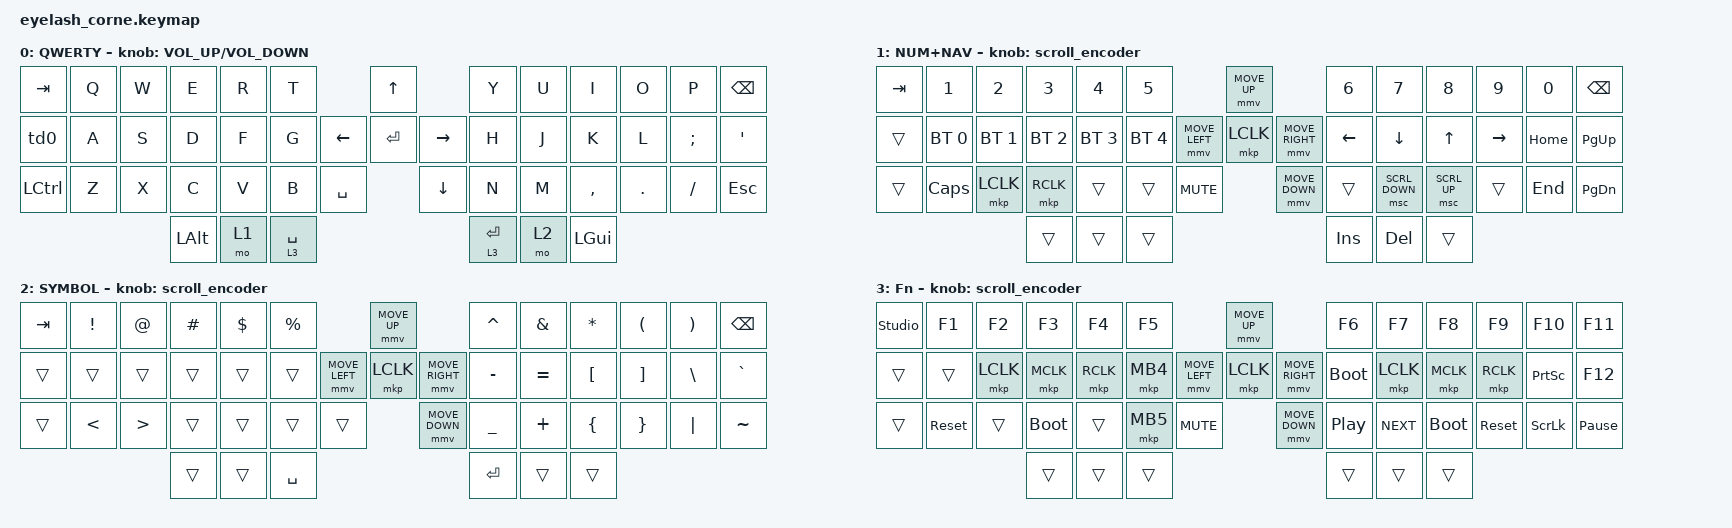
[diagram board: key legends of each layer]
#include <behaviors.dtsi>
#include <dt-bindings/zmk/bt.h>
#include <dt-bindings/zmk/keys.h>
#include <dt-bindings/zmk/mouse.h>
#include <dt-bindings/zmk/outputs.h>
#include <dt-bindings/zmk/rgb.h>

#include <input/processors.dtsi>

#define ZMK_MOUSE_DEFAULT_MOVE_VAL 1200
#define ZMK_MOUSE_DEFAULT_SCRL_VAL 20

/ {
    macros {
        vim_4j: vim_4j {
            compatible = "zmk,behavior-macro";
            #binding-cells = <0>;
            bindings = <&kp N4 &kp J>;
        };
        vim_4k: vim_4k {
            compatible = "zmk,behavior-macro";
            #binding-cells = <0>;
            bindings = <&kp N4 &kp K>;
        };
    };

    combos {
        compatible = "zmk,combos";
        // ALT+J -> 4j (Neovim: move 4 lines down)
        combo_vim_4j {
            timeout-ms = <50>;
            key-positions = <42 23>;
            bindings = <&vim_4j>;
        };
        // ALT+K -> 4k (Neovim: move 4 lines up)
        combo_vim_4k {
            timeout-ms = <50>;
            key-positions = <42 24>;
            bindings = <&vim_4k>;
        };
        // FnSPC + B + T -> BT_CLR (clear active BT profile)
        combo_bt_clr {
            timeout-ms = <100>;
            key-positions = <44 5 33>;
            bindings = <&bt BT_CLR>;
        };
    };

    behaviors {
        td0: td0 {
            compatible = "zmk,behavior-tap-dance";
            display-name = "Shift/Caps Lock Tap Dance";
            #binding-cells = <0>;
            bindings = <&kp LEFT_SHIFT>, <&kp CAPS>;
        };
    };

    scroll_encoder: scroll_encoder {
        compatible = "zmk,behavior-sensor-rotate";
        #sensor-binding-cells = <0>;
        bindings = <&msc SCRL_DOWN>, <&msc SCRL_UP>;
        tap-ms = <30>;
    };

    keymap {
        compatible = "zmk,keymap";

        default_layer {
            display-name = "QWERTY";
// -----------------------------------------------------------------------------------------
// |  TAB |  Q  |  W  |  E  |  R  |  T  |       |  UP |       |  Y  |  U  |  I  |  O  |  P  | BSPC |
// | SHFT*|  A  |  S  |  D  |  F  |  G  | LEFT  | ENT | RIGHT |  H  |  J  |  K  |  L  |  ;  |  '   |
// | CTRL |  Z  |  X  |  C  |  V  |  B  | SPACE |     | DOWN  |  N  |  M  |  ,  |  .  |  /  | ESC  |
//                    | LALT| LWR | SPC/Fn|                    |ENT/Fn| RSE | LGUI|
            bindings = <
&kp TAB    &kp Q  &kp W  &kp E     &kp R  &kp T                              &kp UP                &kp Y        &kp U  &kp I      &kp O    &kp P     &kp BSPC
&td0       &kp A  &kp S  &kp D     &kp F  &kp G                    &kp LEFT  &kp ENTER  &kp RIGHT  &kp H        &kp J  &kp K      &kp L    &kp SEMI  &kp SQT
&kp LCTRL  &kp Z  &kp X  &kp C     &kp V  &kp B       &kp SPACE              &kp DOWN              &kp N        &kp M  &kp COMMA  &kp DOT  &kp FSLH  &kp ESC
                          &kp LALT  &mo 1  &lt 3 SPACE                                              &lt 3 ENTER  &mo 2  &kp LGUI
            >;
            sensor-bindings = <&inc_dec_kp C_VOLUME_UP C_VOLUME_DOWN>;
        };

        lower_layer {
            display-name = "NUM+NAV";
// -----------------------------------------------------------------------------------------
// |  TAB |  1  |  2  |  3  |  4  |  5  |        | mmvUP|       |  6  |  7  |  8  |  9  |  0  | BSPC |
// | BTCLR| BT0 | BT1 | BT2 | BT3 | BT4 | mmvLT | LCLK | mmvRT| LEFT| DOWN|  UP |RIGHT| HOME| PGUP |
// |      | CAPS| LCLK| RCLK|     |     | MUTE  |      | mmvDN|     |SCRDN|SCRUP|     | END | PGDN |
//                    |     |     |      |                      | INS | DEL |     |
            bindings = <
&kp TAB     &kp N1        &kp N2        &kp N3        &kp N4        &kp N5                                          &mmv MOVE_UP                     &kp N6   &kp N7         &kp N8       &kp N9     &kp N0    &kp BSPC
&trans      &bt BT_SEL 0  &bt BT_SEL 1  &bt BT_SEL 2  &bt BT_SEL 3  &bt BT_SEL 4                           &mmv MOVE_LEFT  &mkp LCLK       &mmv MOVE_RIGHT  &kp LEFT &kp DOWN       &kp UP       &kp RIGHT  &kp HOME  &kp PG_UP
&trans      &kp CAPS      &mkp LCLK     &mkp RCLK     &trans        &trans        &kp C_MUTE                      &mmv MOVE_DOWN                   &trans   &msc SCRL_DOWN &msc SCRL_UP &trans     &kp END   &kp PG_DN
                                         &trans        &trans        &trans                                                                         &kp INS  &kp DEL        &trans
            >;
            sensor-bindings = <&scroll_encoder>;
        };

        raise_layer {
            display-name = "SYMBOL";
// -----------------------------------------------------------------------------------------
// |  TAB |  !  |  @  |  #  |  $  |  %  |        | mmvUP|       |  ^  |  &  |  *  |  (  |  )  | BSPC |
// |      |     |     |     |     |     | mmvLT | LCLK | mmvRT|  -  |  =  |  [  |  ]  |  \  |  `   |
// |      |  <  |  >  |     |     |     |       |      | mmvDN|  _  |  +  |  {  |  }  |  |  |  ~   |
//                    |     |     | SPC |                      | ENT |     |     |
            bindings = <
&kp TAB  &kp EXCL  &kp AT  &kp HASH  &kp DLLR  &kp PRCNT                           &mmv MOVE_UP                     &kp CARET  &kp AMPS   &kp ASTRK  &kp LPAR  &kp RPAR  &kp BSPC
&trans   &trans    &trans  &trans    &trans    &trans            &mmv MOVE_LEFT  &mkp LCLK       &mmv MOVE_RIGHT  &kp MINUS  &kp EQUAL  &kp LBKT   &kp RBKT  &kp BSLH  &kp GRAVE
&trans   &kp LT    &kp GT  &trans    &trans    &trans  &trans                    &mmv MOVE_DOWN                   &kp UNDER  &kp PLUS   &kp LBRC   &kp RBRC  &kp PIPE  &kp TILDE
                           &trans    &trans    &kp SPACE                                                          &kp RET    &trans     &trans
            >;
            sensor-bindings = <&scroll_encoder>;
        };

        fn_layer {
            display-name = "Fn";
// -----------------------------------------------------------------------------------------
// |STUDIO| F1  | F2  | F3  | F4  | F5  |        | mmvUP|       | F6  | F7  | F8  | F9  | F10 | F11  |
// |      |     | LCLK| MCLK| RCLK| MB4 | mmvLT | LCLK | mmvRT| BOOT| LCLK| MCLK| RCLK| PRSC| F12  |
// |      |RESET|     | BOOT|     | MB5 | MUTE  |      | mmvDN| PP  | NXT | BOOT|RESET|SCRLK|PAUSE|
//                    |     |     |      |                      |     |     |     |
            bindings = <
&studio_unlock  &kp F1      &kp F2     &kp F3       &kp F4     &kp F5                                  &mmv MOVE_UP                     &kp F6       &kp F7     &kp F8       &kp F9      &kp F10          &kp F11
&trans          &trans      &mkp LCLK  &mkp MCLK    &mkp RCLK  &mkp MB4                &mmv MOVE_LEFT  &mkp LCLK       &mmv MOVE_RIGHT  &bootloader  &mkp LCLK  &mkp MCLK    &mkp RCLK   &kp PRINTSCREEN  &kp F12
&trans          &sys_reset  &trans     &bootloader  &trans     &mkp MB5  &kp C_MUTE                    &mmv MOVE_DOWN                   &kp C_PP     &kp C_NEXT &bootloader  &sys_reset  &kp SCROLLLOCK   &kp PAUSE_BREAK
                                       &trans       &trans     &trans                                                                    &trans       &trans     &trans
            >;
            sensor-bindings = <&scroll_encoder>;
        };
    };
};
